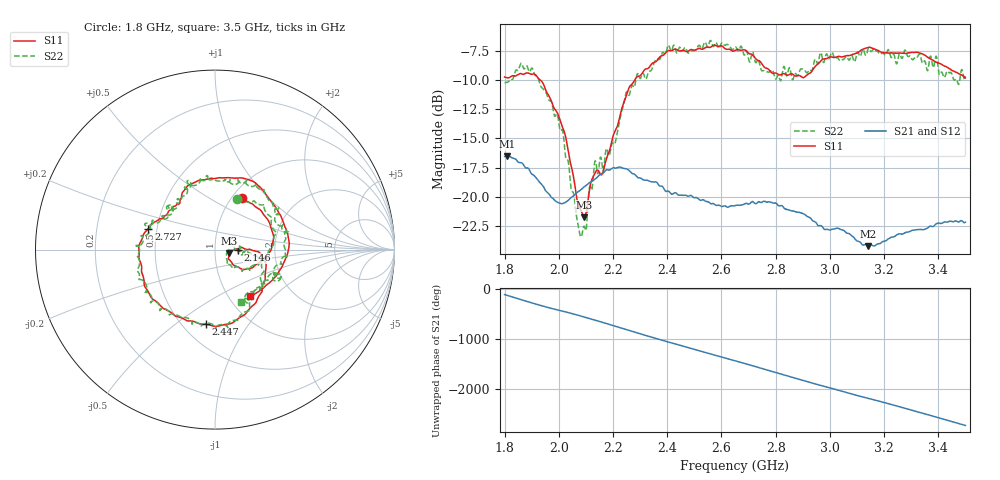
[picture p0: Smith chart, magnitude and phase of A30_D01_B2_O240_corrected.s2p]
! Created with skrf 1.9.0 (http://scikit-rf.org).
# Hz S RI R 50.0
!freq ReS11 ImS11 ReS21 ImS21 ReS12 ImS12 ReS22 ImS22
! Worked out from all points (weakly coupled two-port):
!   1601 points, 1.8 GHz to 3.5 GHz, reference 50 ohm
!   highest |S21| = -16.52 dB at 1.808 GHz (marker M1); lowest = -24.2 dB at 3.142 GHz (marker M2)
!   lowest |S11| = -21.8 dB at 2.093 GHz (marker M3), VSWR 1.18, Z = 58.5 - j2.5 ohm
!   |S11| at or under -10 dB: 1.93 GHz to 2.281 GHz (350.3 MHz wide, 16.6 % of centre)
!   |S22| runs from -23.4 to -6.6 dB; largest |S21 - S12| = 0.0028
!   S11 on the Smith chart (normalised r, x): 1.8 GHz: 1.12, +0.72; 2.146 GHz: 1.30, -0.00; 2.447 GHz: 0.64, -0.65; 2.727 GHz: 0.45, +0.12; 3.5 GHz: 1.25, -0.72
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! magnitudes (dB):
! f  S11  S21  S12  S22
! 1.8 GHz  -9.8  -16.6  -16.5  -10.3
! 1.808 GHz  -9.8  -16.5  -16.5  -10.2
! 1.88 GHz  -9.4  -17.5  -17.5  -8.8
! 1.969 GHz  -11.6  -19.9  -19.9  -11.8
! 2.014 GHz  -14.1  -20.6  -20.6  -14.3
! 2.084 GHz  -21.3  -19.4  -19.3  -23.3
! 2.093 GHz  -21.8  -19.1  -19.2  -22.5
! 2.13 GHz  -18.1  -18.5  -18.5  -17.4
! 2.146 GHz  -17.8  -18.2  -18.2  -17.8
! 2.163 GHz  -17.8  -18.0  -17.9  -17.7
! 2.208 GHz  -14.3  -17.5  -17.5  -15.4
! 2.261 GHz  -10.6  -17.8  -17.8  -11.2
! 2.367 GHz  -8.2  -18.9  -18.9  -8.2
! 2.447 GHz  -7.5  -19.9  -19.9  -7.2
! 2.65 GHz  -7.5  -20.8  -20.7  -7.2
! 2.727 GHz  -8.2  -20.6  -20.6  -8.5
! 2.813 GHz  -9.6  -20.8  -20.7  -9.8
! 2.934 GHz  -9.3  -22.0  -22.0  -9.2
! 3.142 GHz  -7.2  -24.2  -24.1  -7.3
! 3.217 GHz  -7.7  -23.6  -23.6  -7.5
! 3.33 GHz  -7.7  -22.8  -22.8  -7.8
! 3.5 GHz  -9.8  -22.2  -22.2  -9.7
